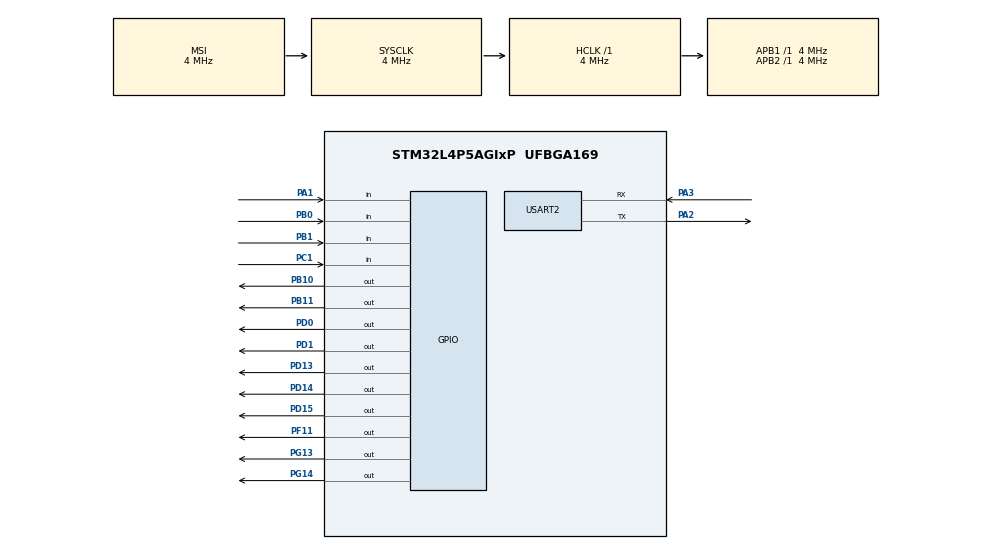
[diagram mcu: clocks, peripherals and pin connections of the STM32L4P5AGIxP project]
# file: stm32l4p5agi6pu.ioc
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Mcu.Family=STM32L4
Mcu.Name=STM32L4P5AGIxP
Mcu.Package=UFBGA169
NVIC.PriorityGroup=NVIC_PRIORITYGROUP_4
NVIC.TIM3_IRQn=true\:0\:0\:false\:false\:true\:true\:true\:true
PA1.GPIO_PuPd=GPIO_PULLUP
PA1.Signal=GPIO_Input
PA2.Mode=Asynchronous
PA2.Signal=USART2_TX
PA3.Mode=Asynchronous
PA3.Signal=USART2_RX
PB0.GPIO_PuPd=GPIO_PULLUP
PB0.Signal=GPIO_Input
PB1.GPIO_PuPd=GPIO_PULLUP
PB1.Signal=GPIO_Input
PB10.GPIO_PuPd=GPIO_PULLUP
PB10.PinState=GPIO_PIN_SET
PB10.Signal=GPIO_Output
PB11.GPIO_PuPd=GPIO_PULLUP
PB11.PinState=GPIO_PIN_SET
PB11.Signal=GPIO_Output
PC1.GPIO_PuPd=GPIO_PULLUP
PC1.Signal=GPIO_Input
PD0.GPIO_Speed=GPIO_SPEED_FREQ_HIGH
PD0.PinState=GPIO_PIN_RESET
PD0.Signal=GPIO_Output
PD1.GPIO_PuPd=GPIO_PULLUP
PD1.PinState=GPIO_PIN_SET
PD1.Signal=GPIO_Output
PD13.GPIO_Speed=GPIO_SPEED_FREQ_HIGH
PD13.PinState=GPIO_PIN_RESET
PD13.Signal=GPIO_Output
PD14.GPIO_Speed=GPIO_SPEED_FREQ_HIGH
PD14.PinState=GPIO_PIN_RESET
PD14.Signal=GPIO_Output
PD15.GPIO_Speed=GPIO_SPEED_FREQ_HIGH
PD15.PinState=GPIO_PIN_RESET
PD15.Signal=GPIO_Output
PF11.GPIO_PuPd=GPIO_PULLUP
PF11.PinState=GPIO_PIN_SET
PF11.Signal=GPIO_Output
PG13.PinState=GPIO_PIN_RESET
PG13.Signal=GPIO_Output
PG14.Signal=GPIO_Output
ProjectManager.HeapSize=0x200
ProjectManager.StackSize=0x400
ProjectManager.TargetToolchain=STM32CubeIDE
RCC.ADCFreq_Value=16000000
RCC.AHBFreq_Value=4000000
RCC.APB1Freq_Value=4000000
RCC.APB1TimFreq_Value=4000000
RCC.APB2Freq_Value=4000000
RCC.APB2TimFreq_Value=4000000
RCC.CortexFreq_Value=4000000
RCC.HCLKFreq_Value=4000000
RCC.HSE_VALUE=8000000
RCC.HSI48_VALUE=48000000
RCC.HSI_VALUE=16000000
RCC.MSI_VALUE=4000000
RCC.SYSCLKFreq_VALUE=4000000
RCC.USART2CLockSelection=RCC_USART2CLKSOURCE_SYSCLK
RCC.USBFreq_Value=16000000
RCC.VCOOutputFreq_Value=32000000
TIM3.Period=1000-1
TIM3.Prescaler=64-1
USART2.VirtualMode-Asynchronous=VM_ASYNC
VP_TIM3_VS_ClockSourceINT.Mode=Internal
board=custom

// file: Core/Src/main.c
/* USER CODE BEGIN Header */
/**
  ******************************************************************************
  * @file           : main.c
  * @brief          : Main program body
  ******************************************************************************
  * @attention
  *
  * Copyright (c) 2023 STMicroelectronics.
  * All rights reserved.
  *
  * This software is licensed under terms that can be found in the LICENSE file
  * in the root directory of this software component.
  * If no LICENSE file comes with this software, it is provided AS-IS.
  *
  ******************************************************************************
  */
/* USER CODE END Header */
#include "main.h"

/* USER CODE BEGIN Includes */
#include "stdio.h"
#include "string.h"
#include "../../icode/step_motor/step_motor.h"
#include "../../icode/4x4key/4x4key.h"
/* USER CODE END Includes */

TIM_HandleTypeDef htim3;

UART_HandleTypeDef huart2;

/* USER CODE BEGIN PV */
#ifdef __GNUC__
#define PUTCHAR_PROTOTYPE int __io_putchar(int ch)
#else
#define PUTCHAR_PROTOTYPE int fputc(int ch,FILE *F)
#endif

PUTCHAR_PROTOTYPE
{
	HAL_UART_Transmit(&huart2, (uint8_t *)&ch, 1, HAL_MAX_DELAY);
	return ch;
}
//uint8_t RxBuff[1];		// 用来接收串口2发送的数据
uint8_t RxBuff[1];      //进入中断接收数据的数组
uint8_t DataBuff[100]; //保存接收到的数据的数组
int RxLine=0;           //接收到的数据长度
int Rx_flag=0;					//接受到数据标志
/* USER CODE END PV */

void SystemClock_Config(void);
static void MX_GPIO_Init(void);
static void MX_TIM3_Init(void);
static void MX_USART2_UART_Init(void);

/* USER CODE BEGIN 0 */
void printf_usart(void)
{
	printf("length=%d\r\n",RxLine);
	DataBuff[RxLine] = '\0';
		printf("Rxdata:%s\r\n",DataBuff);
	memset(DataBuff,0,sizeof(DataBuff));  //清空缓存数组
	//memset()作用：可以方便的清空一个结构类型的变量或数组。
	//例句：memset(aTxbuffer,0,sizeof(aTxbuffer))  用memset清空aTxbuffer。
	RxLine=0;  //清空接收长度
}

/* USER CODE END 0 */

int main(void)
{

  /* MCU Configuration--------------------------------------------------------*/

  /* Reset of all peripherals, Initializes the Flash interface and the Systick. */
  HAL_Init();

  /* Configure the system clock */
  SystemClock_Config();

  /* Initialize all configured peripherals */
  MX_GPIO_Init();
  MX_TIM3_Init();
  MX_USART2_UART_Init();
  /* USER CODE BEGIN 2 */
  //key4x4_Init();
  //HAL_UART_Receive_IT(&huart2, RxBuff, 1);
  HAL_UART_Receive_IT(&huart2,  (uint8_t *)RxBuff, 1);
  HAL_TIM_Base_Start_IT(&htim3);//开启定时器
  /* USER CODE END 2 */

  /* Infinite loop */
  while (1)
  {

    /* USER CODE BEGIN 3 */
	  static int passward=0;
	  int key=read_keypad();
	  int use_key=key+1;
	  if(use_key!=0){
		  if(use_key==16){
			  printf("key board:\n"
					  "1  2  3  4\n"
					  "5  6  7  8\n"
					  "9  *  *  *\n"
					  "*  *  ok help\n");
		  }
		  else if(use_key==15){
			  if(passward==1234){
				  printf("open the door\n");
				  //Forward();
				  passward=0;
				  Forward_turn_step(4096/2);
				  HAL_Delay(1000);
				  StopMotor();
				  // Reverse();
				  Reverse_turn_step(4096/2);
				  HAL_Delay(1000);
				  //StopMotor();
			  }
			  else {
				  printf("your passward is error\n");
				  passward=0;
			  }
		  }
		  else{
		  passward=(passward*10)+use_key;
		  //printf("put down key=%d\r\n",use_key);
		  printf("the passward you input is:%d\r\n",passward);
		  		  }
	  }
	  //if(key==0)
//		  GPIOG-> ODR^=GPIO_PIN_14;
//		  HAL_Delay(1000);

  }
  /* USER CODE END 3 */
}

void SystemClock_Config(void)
{
  RCC_OscInitTypeDef RCC_OscInitStruct = {0};
  RCC_ClkInitTypeDef RCC_ClkInitStruct = {0};

  /** Configure the main internal regulator output voltage
  */
  if (HAL_PWREx_ControlVoltageScaling(PWR_REGULATOR_VOLTAGE_SCALE1) != HAL_OK)
  {
    Error_Handler();
  }

  /** Initializes the RCC Oscillators according to the specified parameters
  * in the RCC_OscInitTypeDef structure.
  */
  RCC_OscInitStruct.OscillatorType = RCC_OSCILLATORTYPE_MSI;
  RCC_OscInitStruct.MSIState = RCC_MSI_ON;
  RCC_OscInitStruct.MSICalibrationValue = 0;
  RCC_OscInitStruct.MSIClockRange = RCC_MSIRANGE_6;
  RCC_OscInitStruct.PLL.PLLState = RCC_PLL_NONE;
  if (HAL_RCC_OscConfig(&RCC_OscInitStruct) != HAL_OK)
  {
    Error_Handler();
  }

  /** Initializes the CPU, AHB and APB buses clocks
  */
  RCC_ClkInitStruct.ClockType = RCC_CLOCKTYPE_HCLK|RCC_CLOCKTYPE_SYSCLK
                              |RCC_CLOCKTYPE_PCLK1|RCC_CLOCKTYPE_PCLK2;
  RCC_ClkInitStruct.SYSCLKSource = RCC_SYSCLKSOURCE_MSI;
  RCC_ClkInitStruct.AHBCLKDivider = RCC_SYSCLK_DIV1;
  RCC_ClkInitStruct.APB1CLKDivider = RCC_HCLK_DIV1;
  RCC_ClkInitStruct.APB2CLKDivider = RCC_HCLK_DIV1;

  if (HAL_RCC_ClockConfig(&RCC_ClkInitStruct, FLASH_LATENCY_0) != HAL_OK)
  {
    Error_Handler();
  }
}

static void MX_TIM3_Init(void)
{

  TIM_ClockConfigTypeDef sClockSourceConfig = {0};
  TIM_MasterConfigTypeDef sMasterConfig = {0};

  htim3.Instance = TIM3;
  htim3.Init.Prescaler = 64-1;
  htim3.Init.CounterMode = TIM_COUNTERMODE_UP;
  htim3.Init.Period = 1000-1;
  htim3.Init.ClockDivision = TIM_CLOCKDIVISION_DIV1;
  htim3.Init.AutoReloadPreload = TIM_AUTORELOAD_PRELOAD_DISABLE;
  if (HAL_TIM_Base_Init(&htim3) != HAL_OK)
  {
    Error_Handler();
  }
  sClockSourceConfig.ClockSource = TIM_CLOCKSOURCE_INTERNAL;
  if (HAL_TIM_ConfigClockSource(&htim3, &sClockSourceConfig) != HAL_OK)
  {
    Error_Handler();
  }
  sMasterConfig.MasterOutputTrigger = TIM_TRGO_RESET;
  sMasterConfig.MasterSlaveMode = TIM_MASTERSLAVEMODE_DISABLE;
  if (HAL_TIMEx_MasterConfigSynchronization(&htim3, &sMasterConfig) != HAL_OK)
  {
    Error_Handler();
  }

}

static void MX_USART2_UART_Init(void)
{

  huart2.Instance = USART2;
  huart2.Init.BaudRate = 115200;
  huart2.Init.WordLength = UART_WORDLENGTH_8B;
  huart2.Init.StopBits = UART_STOPBITS_1;
  huart2.Init.Parity = UART_PARITY_NONE;
  huart2.Init.Mode = UART_MODE_TX_RX;
  huart2.Init.HwFlowCtl = UART_HWCONTROL_NONE;
  huart2.Init.OverSampling = UART_OVERSAMPLING_16;
  huart2.Init.OneBitSampling = UART_ONE_BIT_SAMPLE_DISABLE;
  huart2.Init.ClockPrescaler = UART_PRESCALER_DIV1;
  huart2.AdvancedInit.AdvFeatureInit = UART_ADVFEATURE_NO_INIT;
  if (HAL_UART_Init(&huart2) != HAL_OK)
  {
    Error_Handler();
  }
  if (HAL_UARTEx_SetTxFifoThreshold(&huart2, UART_TXFIFO_THRESHOLD_1_8) != HAL_OK)
  {
    Error_Handler();
  }
  if (HAL_UARTEx_SetRxFifoThreshold(&huart2, UART_RXFIFO_THRESHOLD_1_8) != HAL_OK)
  {
    Error_Handler();
  }
  if (HAL_UARTEx_DisableFifoMode(&huart2) != HAL_OK)
  {
    Error_Handler();
  }

}

static void MX_GPIO_Init(void)
{
  GPIO_InitTypeDef GPIO_InitStruct = {0};

  /* GPIO Ports Clock Enable */
  __HAL_RCC_GPIOD_CLK_ENABLE();
  __HAL_RCC_GPIOG_CLK_ENABLE();
  HAL_PWREx_EnableVddIO2();
  __HAL_RCC_GPIOB_CLK_ENABLE();
  __HAL_RCC_GPIOC_CLK_ENABLE();
  __HAL_RCC_GPIOA_CLK_ENABLE();
  __HAL_RCC_GPIOF_CLK_ENABLE();

  /*Configure GPIO pin Output Level */
  HAL_GPIO_WritePin(GPIOD, GPIO_PIN_0|GPIO_PIN_15|GPIO_PIN_14|GPIO_PIN_13, GPIO_PIN_RESET);

  /*Configure GPIO pin Output Level */
  HAL_GPIO_WritePin(GPIOD, GPIO_PIN_1, GPIO_PIN_SET);

  /*Configure GPIO pin Output Level */
  HAL_GPIO_WritePin(GPIOG, GPIO_PIN_14|GPIO_PIN_13, GPIO_PIN_RESET);

  /*Configure GPIO pin Output Level */
  HAL_GPIO_WritePin(GPIOB, GPIO_PIN_11|GPIO_PIN_10, GPIO_PIN_SET);

  /*Configure GPIO pin Output Level */
  HAL_GPIO_WritePin(GPIOF, GPIO_PIN_11, GPIO_PIN_SET);

  /*Configure GPIO pins : PD0 PD15 PD14 PD13 */
  GPIO_InitStruct.Pin = GPIO_PIN_0|GPIO_PIN_15|GPIO_PIN_14|GPIO_PIN_13;
  GPIO_InitStruct.Mode = GPIO_MODE_OUTPUT_PP;
  GPIO_InitStruct.Pull = GPIO_NOPULL;
  GPIO_InitStruct.Speed = GPIO_SPEED_FREQ_HIGH;
  HAL_GPIO_Init(GPIOD, &GPIO_InitStruct);

  /*Configure GPIO pin : PD1 */
  GPIO_InitStruct.Pin = GPIO_PIN_1;
  GPIO_InitStruct.Mode = GPIO_MODE_OUTPUT_PP;
  GPIO_InitStruct.Pull = GPIO_PULLUP;
  GPIO_InitStruct.Speed = GPIO_SPEED_FREQ_LOW;
  HAL_GPIO_Init(GPIOD, &GPIO_InitStruct);

  /*Configure GPIO pins : PG14 PG13 */
  GPIO_InitStruct.Pin = GPIO_PIN_14|GPIO_PIN_13;
  GPIO_InitStruct.Mode = GPIO_MODE_OUTPUT_PP;
  GPIO_InitStruct.Pull = GPIO_NOPULL;
  GPIO_InitStruct.Speed = GPIO_SPEED_FREQ_LOW;
  HAL_GPIO_Init(GPIOG, &GPIO_InitStruct);

  /*Configure GPIO pins : PB11 PB10 */
  GPIO_InitStruct.Pin = GPIO_PIN_11|GPIO_PIN_10;
  GPIO_InitStruct.Mode = GPIO_MODE_OUTPUT_PP;
  GPIO_InitStruct.Pull = GPIO_PULLUP;
  GPIO_InitStruct.Speed = GPIO_SPEED_FREQ_LOW;
  HAL_GPIO_Init(GPIOB, &GPIO_InitStruct);

  /*Configure GPIO pin : PC1 */
  GPIO_InitStruct.Pin = GPIO_PIN_1;
  GPIO_InitStruct.Mode = GPIO_MODE_INPUT;
  GPIO_InitStruct.Pull = GPIO_PULLUP;
  HAL_GPIO_Init(GPIOC, &GPIO_InitStruct);

  /*Configure GPIO pins : PB0 PB1 */
  GPIO_InitStruct.Pin = GPIO_PIN_0|GPIO_PIN_1;
  GPIO_InitStruct.Mode = GPIO_MODE_INPUT;
  GPIO_InitStruct.Pull = GPIO_PULLUP;
  HAL_GPIO_Init(GPIOB, &GPIO_InitStruct);

  /*Configure GPIO pin : PF11 */
  GPIO_InitStruct.Pin = GPIO_PIN_11;
  GPIO_InitStruct.Mode = GPIO_MODE_OUTPUT_PP;
  GPIO_InitStruct.Pull = GPIO_PULLUP;
  GPIO_InitStruct.Speed = GPIO_SPEED_FREQ_LOW;
  HAL_GPIO_Init(GPIOF, &GPIO_InitStruct);

  /*Configure GPIO pin : PA1 */
  GPIO_InitStruct.Pin = GPIO_PIN_1;
  GPIO_InitStruct.Mode = GPIO_MODE_INPUT;
  GPIO_InitStruct.Pull = GPIO_PULLUP;
  HAL_GPIO_Init(GPIOA, &GPIO_InitStruct);

}

/* USER CODE BEGIN 4 */
//void HAL_UART_RxCpltCallback(UART_HandleTypeDef *huart)
//{
//
//	if(huart->Instance == USART2)	// 判断是由哪个串口触发的中断
//	{
//		HAL_UART_Transmit(&huart2,RxBuff,1,100);	// 接收到数据马上使用串口2发送出去
//		HAL_UART_Receive_IT(&huart2,RxBuff,1);		// 重新使能串口2接收中断
//	}
//}
void HAL_UART_RxCpltCallback(UART_HandleTypeDef *huart)
{

	if(huart->Instance == USART2)	// 判断是由哪个串口触发的中�?
	{
		RxLine++;                      //每接收到一个数据，进入回调数据长度加1
		DataBuff[RxLine-1]=RxBuff[0];  //把每次接收到的数据保存到缓存数组
		Rx_flag=1;
		if(RxBuff[0]==0xff)            //接收结束标志位，这个数据可以自定义，根据实际需求，这里只做示例使用，不一定是0xff
		{
			printf_usart();
		}
		RxBuff[0]=0;
		HAL_UART_Receive_IT(&huart2, (uint8_t *)RxBuff, 1); //每接收一个数据，就打开一次串口中断接收，否则只会接收一个数据就停止接收
		__HAL_TIM_SET_COUNTER(&htim3, 1); // 计数清零，从头开始计
	}
}
void HAL_TIM_PeriodElapsedCallback(TIM_HandleTypeDef *htim){
    if (htim->Instance == TIM3){	// 判断是由哪个定时器触发的中断
    	if(Rx_flag==1)
		{
			printf_usart();
			Rx_flag=0;
		}
    }
}
/* USER CODE END 4 */

void Error_Handler(void)
{
  __disable_irq();
  while (1)
  {
  }
}
